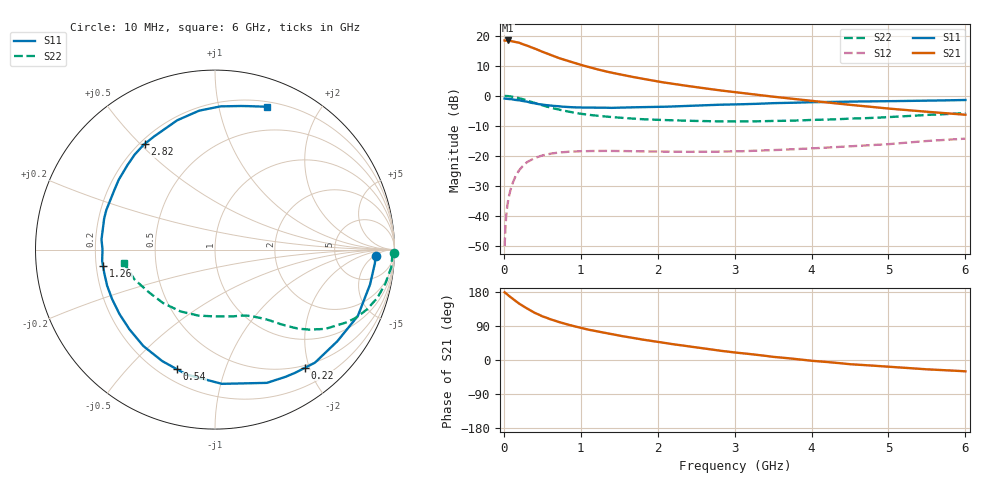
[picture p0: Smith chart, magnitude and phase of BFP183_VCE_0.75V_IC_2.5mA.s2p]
! Infineon Technologies  Discrete & RF Semiconductors
! BFP183
! VCE = 0.75V,  IC =  2.5 mA
! Common Emitter S-Parameters:  Jan 2016
# GHz  S  MA  R  50
!  f  S11  S21  S12  S22
! GHz  MAG  ANG  MAG  ANG  MAG  ANG  MAG  ANG
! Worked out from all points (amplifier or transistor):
!   210 points, 10 MHz to 6 GHz, reference 50 ohm
!   highest |S21| = 18.4 dB at 50 MHz (marker M1)
!   |S21| within 3 dB of that: start of sweep to 429.5 MHz
!   unconditionally stable (mu >= 1): 1.851 GHz to end of sweep
!   at 185 MHz: K = 0.12, MSG = 21.6 dB, |S12| = -25.4 dB
!   at 1.52 GHz: K = 0.83, MSG = 12.8 dB, |S12| = -18.5 dB
!   at 6 GHz: K = 1.11, MAG = 1.9 dB, |S12| = -14.3 dB
!   S11 on the Smith chart (normalised r, x): 10 MHz: 16, -6; 220 MHz: 0.46, -1.93; 540 MHz: 0.27, -0.70; 1.26 GHz: 0.23, -0.07; 2.82 GHz: 0.22, +0.52; 6 GHz: 0.25, +1.40
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0.01  0.8954 -2.3  8.325 178.7  0.0031 88.7  0.9961 -1.2
0.025  0.8914 -6.3  8.278 176.4  0.0078 84.9  0.988 -2.8
0.05  0.8855 -12.7  8.332 171.9  0.0162 83.9  0.9873 -5.6
0.1  0.8775 -24.9  8.124 163.9  0.0308 76.2  0.9678 -11.3
0.15  0.8517 -36.8  7.863 156.1  0.0448 69.2  0.9441 -16.5
0.2  0.8408 -48.5  7.631 148.7  0.0574 63.3  0.9106 -21.4
0.22  0.8277 -52.6  7.439 146.1  0.0615 61.0  0.8948 -23.1
0.3  0.7969 -68.7  6.847 136.3  0.0777 53.3  0.834 -29.2
0.4  0.7488 -87.1  6.126 124.6  0.0914 44.4  0.7581 -35.6
0.5  0.7139 -102.8  5.406 115.3  0.1009 37.6  0.69 -40.3
0.54  0.6993 -107.7  5.166 112.5  0.1036 35.4  0.6681 -41.6
0.6  0.6873 -115.3  4.831 107.9  0.1079 32.3  0.6359 -43.7
0.74  0.6598 -130.7  4.142 98.8  0.1135 26.6  0.5771 -47.1
1.02  0.6349 -155.8  3.211 83.8  0.1181 18.7  0.4957 -52.5
1.26  0.6306 -171.7  2.662 73.8  0.12 14.2  0.4572 -56.4
1.58  0.635 170.7  2.172 61.6  0.1194 10.8  0.4242 -61.0
2.02  0.6498 150.7  1.708 47.2  0.1173 9.6  0.3947 -68.7
2.82  0.7072 123.6  1.222 24.3  0.1169 10.8  0.373 -86.6
3.1  0.7202 115.8  1.108 17.9  0.1187 11.8  0.3719 -93.8
4.1  0.7815 94.7  0.796 -3.6  0.1342 15.0  0.3963 -122.2
5.1  0.8128 79.8  0.595 -19.0  0.1595 15.8  0.4455 -150.1
6  0.8475 69.9  0.481 -29.9  0.1922 10.9  0.513 -171.5
